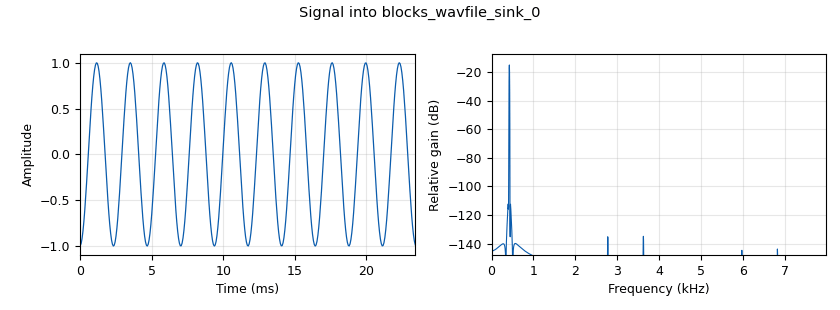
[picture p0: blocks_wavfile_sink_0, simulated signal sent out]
<?xml version='1.0' encoding='utf-8'?>
<?grc format='1' created='3.7.13'?>
<flow_graph>
<block>
<key>options</key>
<param><key>id</key><value>top_block</value></param>
<param><key>generate_options</key><value>qt_gui</value></param>
</block>
<block>
<key>variable_qtgui_range</key>
<param><key>id</key><value>freq</value></param>
<param><key>value</key><value>425</value></param>
<param><key>orient</key><value>Qt.Horizontal</value></param>
<param><key>start</key><value>425</value></param>
<param><key>step</key><value>125</value></param>
<param><key>stop</key><value>2000</value></param>
</block>
<block>
<key>variable</key>
<param><key>id</key><value>samp_rate</value></param>
<param><key>value</key><value>16000</value></param>
</block>
<block>
<key>analog_sig_source_x</key>
<param><key>id</key><value>analog_sig_source_x_0</value></param>
<param><key>amp</key><value>1</value></param>
<param><key>freq</key><value>freq</value></param>
<param><key>offset</key><value>0</value></param>
<param><key>type</key><value>float</value></param>
<param><key>samp_rate</key><value>samp_rate</value></param>
<param><key>waveform</key><value>analog.GR_COS_WAVE</value></param>
</block>
<block>
<key>audio_source</key>
<param><key>id</key><value>audio_source_0</value></param>
<param><key>_enabled</key><value>0</value></param>
<param><key>samp_rate</key><value>samp_rate</value></param>
</block>
<block>
<key>blocks_throttle</key>
<param><key>id</key><value>blocks_throttle_0</value></param>
<param><key>samples_per_second</key><value>samp_rate</value></param>
<param><key>type</key><value>float</value></param>
</block>
<block>
<key>blocks_wavfile_sink</key>
<param><key>id</key><value>blocks_wavfile_sink_0</value></param>
<param><key>bits_per_sample</key><value>8</value></param>
<param><key>file</key><value>/Users/ecg/Documents/UFCG/Disciplinas/PDS/ExemplosUsandoGRC/assobio.wav</value></param>
<param><key>samp_rate</key><value>samp_rate</value></param>
</block>
<connection><source_block_id>analog_sig_source_x_0</source_block_id><sink_block_id>blocks_throttle_0</sink_block_id><source_key>0</source_key><sink_key>0</sink_key></connection>
<connection><source_block_id>audio_source_0</source_block_id><sink_block_id>blocks_wavfile_sink_0</sink_block_id><source_key>0</source_key><sink_key>0</sink_key></connection>
<connection><source_block_id>blocks_throttle_0</source_block_id><sink_block_id>blocks_wavfile_sink_0</sink_block_id><source_key>0</source_key><sink_key>0</sink_key></connection>
</flow_graph>
